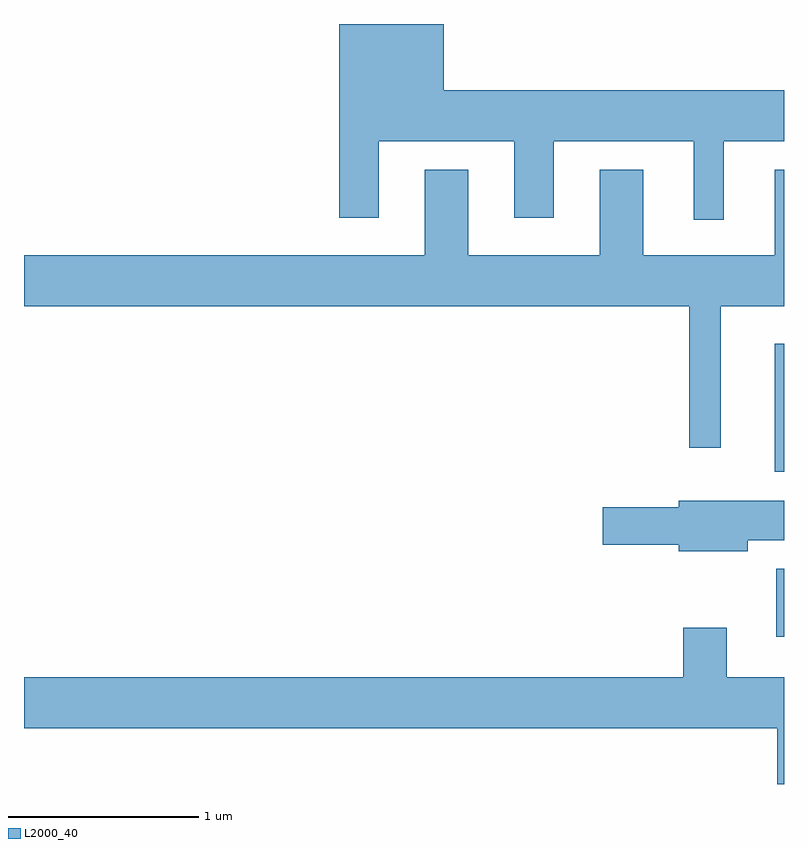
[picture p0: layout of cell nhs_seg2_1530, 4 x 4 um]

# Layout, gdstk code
import gdstk
lib = gdstk.Library(unit=1e-6, precision=1e-09)
def R(c, l, rs):  # rectangles x0, y0, x1, y1
    for r in rs: c.add(gdstk.rectangle(r[:2], r[2:], *l))
def P(c, l, *ps):  # polygons
    for p in ps: c.add(gdstk.Polygon(p, *l))
L2000_40 = (2000, 40)

nhs_seg2_1530 = lib.new_cell('nhs_seg2_1530')
R(nhs_seg2_1530, L2000_40, [(233.571,1046.576,233.611,1046.934), (233.561,1047.446,233.611,1048.119)])
P(nhs_seg2_1530, L2000_40, [(233.294,1049.186),(233.611,1049.186),(233.611,1049.454),(231.819,1049.454),(231.819,1049.802),(231.271,1049.802),(231.271,1048.781),(231.479,1048.781),(231.479,1049.186),(232.191,1049.186),(232.191,1048.781),(232.399,1048.781),(232.399,1049.186),(233.136,1049.186),(233.136,1048.773),(233.294,1048.773)],
  [(233.279,1048.316),(233.611,1048.316),(233.611,1049.034),(233.561,1049.034),(233.561,1048.584),(232.869,1048.584),(232.869,1049.034),(232.641,1049.034),(232.641,1048.584),(231.949,1048.584),(231.949,1049.034),(231.721,1049.034),(231.721,1048.584),(229.611,1048.584),(229.611,1048.316),(233.111,1048.316),(233.111,1047.573),(233.279,1047.573)],
  [(233.419,1047.086),(233.611,1047.086),(233.611,1047.294),(233.056,1047.294),(233.056,1047.259),(232.656,1047.259),(232.656,1047.061),(233.056,1047.061),(233.056,1047.026),(233.419,1047.026)],
  [(233.611,1046.364),(233.309,1046.364),(233.309,1046.624),(233.081,1046.624),(233.081,1046.364),(229.611,1046.364),(229.611,1046.096),(233.576,1046.096),(233.576,1045.802),(233.611,1045.802)])

lib.write_gds('nhs_seg2_1530.gds')
